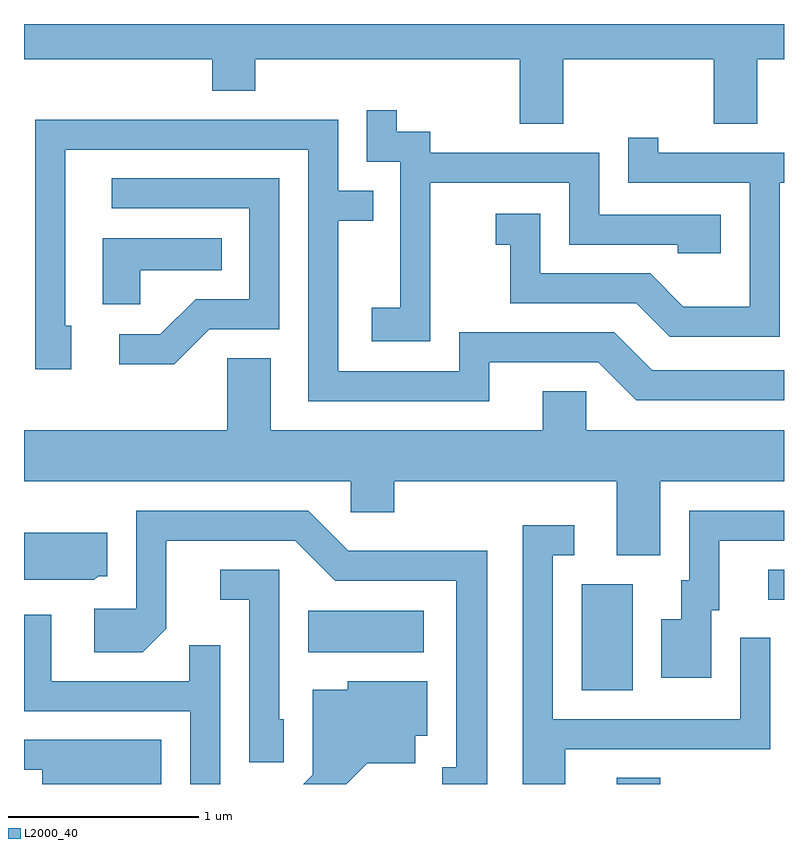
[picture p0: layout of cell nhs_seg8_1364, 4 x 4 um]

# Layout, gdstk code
import gdstk
lib = gdstk.Library(unit=1e-6, precision=1e-09)
def R(c, l, rs):  # rectangles x0, y0, x1, y1
    for r in rs: c.add(gdstk.rectangle(r[:2], r[2:], *l))
def P(c, l, *ps):  # polygons
    for p in ps: c.add(gdstk.Polygon(p, *l))
L2000_40 = (2000, 40)

nhs_seg8_1364 = lib.new_cell('nhs_seg8_1364')
R(nhs_seg8_1364, L2000_40, [(228.731,1870.342,228.959,1870.374), (228.546,1870.836,228.814,1871.394), (227.106,1871.036,227.714,1871.254), (229.528,1871.311,229.611,1871.469)])
P(nhs_seg8_1364, L2000_40, [(225.611,1874.156),(226.601,1874.156),(226.601,1873.991),(226.829,1873.991),(226.829,1874.156),(228.221,1874.156),(228.221,1873.816),(228.449,1873.816),(228.449,1874.156),(229.241,1874.156),(229.241,1873.816),(229.469,1873.816),(229.469,1874.156),(229.611,1874.156),(229.611,1874.342),(225.611,1874.342)],
  [(227.749,1873.506),(228.481,1873.506),(228.481,1873.181),(229.051,1873.181),(229.051,1873.136),(229.279,1873.136),(229.279,1873.339),(228.639,1873.339),(228.639,1873.664),(227.749,1873.664),(227.749,1873.774),(227.574,1873.774),(227.574,1873.888),(227.416,1873.888),(227.416,1873.616),(227.591,1873.616),(227.591,1872.849),(227.441,1872.849),(227.441,1872.671),(227.749,1872.671)],
  [(228.059,1872.561),(228.634,1872.561),(228.834,1872.361),(229.611,1872.361),(229.611,1872.519),(228.917,1872.519),(228.717,1872.719),(227.901,1872.719),(227.901,1872.514),(227.264,1872.514),(227.264,1873.306),(227.448,1873.306),(227.448,1873.464),(227.264,1873.464),(227.264,1873.839),(225.671,1873.839),(225.671,1872.526),(225.859,1872.526),(225.859,1872.754),(225.829,1872.754),(225.829,1873.681),(227.106,1873.681),(227.106,1872.356),(228.059,1872.356)],
  [(229.589,1873.506),(229.611,1873.506),(229.611,1873.664),(228.949,1873.664),(228.949,1873.743),(228.791,1873.743),(228.791,1873.506),(229.431,1873.506),(229.431,1872.854),(229.082,1872.854),(228.907,1873.029),(228.329,1873.029),(228.329,1873.344),(228.093,1873.344),(228.093,1873.181),(228.171,1873.181),(228.171,1872.871),(228.834,1872.871),(229.009,1872.696),(229.589,1872.696)],
  [(226.587,1872.736),(226.954,1872.736),(226.954,1873.529),(226.073,1873.529),(226.073,1873.371),(226.796,1873.371),(226.796,1872.894),(226.514,1872.894),(226.329,1872.709),(226.113,1872.709),(226.113,1872.551),(226.402,1872.551)],
  [(226.224,1873.046),(226.653,1873.046),(226.653,1873.214),(226.026,1873.214),(226.026,1872.866),(226.224,1872.866)],
  [(228.959,1871.936),(229.611,1871.936),(229.611,1872.204),(228.569,1872.204),(228.569,1872.409),(228.341,1872.409),(228.341,1872.204),(226.909,1872.204),(226.909,1872.584),(226.681,1872.584),(226.681,1872.204),(225.611,1872.204),(225.611,1871.936),(227.331,1871.936),(227.331,1871.771),(227.559,1871.771),(227.559,1871.936),(228.731,1871.936),(228.731,1871.546),(228.959,1871.546)],
  [(229.229,1871.256),(229.269,1871.256),(229.269,1871.621),(229.611,1871.621),(229.611,1871.779),(229.111,1871.779),(229.111,1871.414),(229.071,1871.414),(229.071,1871.209),(228.966,1871.209),(228.966,1870.901),(229.229,1870.901)],
  [(228.049,1871.569),(227.317,1871.569),(227.107,1871.779),(226.201,1871.779),(226.201,1871.264),(225.981,1871.264),(225.981,1871.036),(226.237,1871.036),(226.359,1871.159),(226.359,1871.621),(227.039,1871.621),(227.249,1871.411),(227.886,1871.411),(227.886,1870.429),(227.813,1870.429),(227.813,1870.342),(228.049,1870.342)],
  [(228.459,1870.526),(229.539,1870.526),(229.539,1871.113),(229.381,1871.113),(229.381,1870.684),(228.394,1870.684),(228.394,1871.546),(228.508,1871.546),(228.508,1871.704),(228.236,1871.704),(228.236,1870.342),(228.459,1870.342)],
  [(226.002,1871.436),(226.049,1871.436),(226.049,1871.664),(225.611,1871.664),(225.611,1871.416),(225.982,1871.416)],
  [(226.979,1870.684),(226.954,1870.684),(226.954,1871.469),(226.643,1871.469),(226.643,1871.311),(226.796,1871.311),(226.796,1870.456),(226.979,1870.456)],
  [(226.644,1871.073),(226.481,1871.073),(226.481,1870.884),(225.754,1870.884),(225.754,1871.233),(225.611,1871.233),(225.611,1870.726),(226.486,1870.726),(226.486,1870.342),(226.644,1870.342)],
  [(227.417,1870.451),(227.669,1870.451),(227.669,1870.596),(227.734,1870.596),(227.734,1870.884),(227.316,1870.884),(227.316,1870.839),(227.131,1870.839),(227.131,1870.392),(227.082,1870.342),(227.308,1870.342)],
  [(226.334,1870.574),(225.611,1870.574),(225.611,1870.416),(225.706,1870.416),(225.706,1870.342),(226.334,1870.342)])

lib.write_gds('nhs_seg8_1364.gds')
